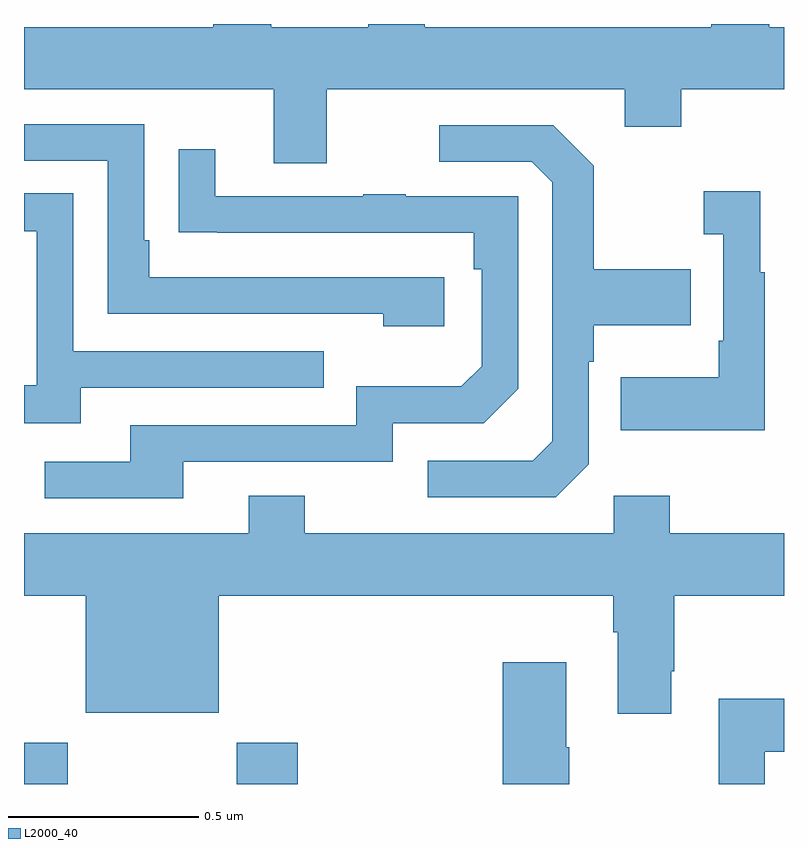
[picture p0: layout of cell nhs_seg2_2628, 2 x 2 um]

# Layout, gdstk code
import gdstk
lib = gdstk.Library(unit=1e-6, precision=1e-09)
def R(c, l, rs):  # rectangles x0, y0, x1, y1
    for r in rs: c.add(gdstk.rectangle(r[:2], r[2:], *l))
def P(c, l, *ps):  # polygons
    for p in ps: c.add(gdstk.Polygon(p, *l))
L2000_40 = (2000, 40)

nhs_seg2_2628 = lib.new_cell('nhs_seg2_2628')
R(nhs_seg2_2628, L2000_40, [(143,653.8,143.115,653.908), (143.56,653.8,143.72,653.908)])
P(nhs_seg2_2628, L2000_40, [(143.797,655.628),(144.581,655.628),(144.581,655.529),(144.729,655.529),(144.729,655.628),(145,655.628),(145,655.792),(144.961,655.792),(144.961,655.8),(144.809,655.8),(144.809,655.792),(144.054,655.792),(144.054,655.8),(143.906,655.8),(143.906,655.792),(143.65,655.792),(143.65,655.8),(143.498,655.8),(143.498,655.792),(143,655.792),(143,655.628),(143.657,655.628),(143.657,655.434),(143.797,655.434)],
  [(144.106,655.134),(143.329,655.134),(143.329,655.231),(143.316,655.231),(143.316,655.536),(143,655.536),(143,655.44),(143.22,655.44),(143.22,655.038),(143.945,655.038),(143.945,655.004),(144.106,655.004)],
  [(144.486,654.642),(144.486,654.911),(144.499,654.911),(144.499,655.007),(144.755,655.007),(144.755,655.155),(144.499,655.155),(144.499,655.427),(144.393,655.533),(144.093,655.533),(144.093,655.437),(144.336,655.437),(144.39,655.383),(144.39,654.702),(144.339,654.651),(144.063,654.651),(144.063,654.555),(144.399,654.555)],
  [(143.419,654.648),(143.97,654.648),(143.97,654.75),(144.21,654.75),(144.3,654.84),(144.3,655.347),(144.005,655.347),(144.005,655.352),(143.893,655.352),(143.893,655.347),(143.503,655.347),(143.503,655.471),(143.407,655.471),(143.407,655.252),(143.509,655.252),(143.509,655.251),(144.184,655.251),(144.184,655.154),(144.204,655.154),(144.204,654.9),(144.151,654.847),(143.874,654.847),(143.874,654.744),(143.279,654.744),(143.279,654.648),(143.055,654.648),(143.055,654.552),(143.419,654.552)],
  [(144.949,655.147),(144.937,655.147),(144.937,655.36),(144.789,655.36),(144.789,655.247),(144.84,655.247),(144.84,654.967),(144.828,654.967),(144.828,654.871),(144.571,654.871),(144.571,654.731),(144.949,654.731)],
  [(143.149,654.843),(143.789,654.843),(143.789,654.939),(143.13,654.939),(143.13,655.355),(143,655.355),(143,655.254),(143.034,655.254),(143.034,654.849),(143,654.849),(143,654.749),(143.149,654.749)],
  [(144.703,654.097),(144.711,654.097),(144.711,654.296),(145,654.296),(145,654.46),(144.699,654.46),(144.699,654.559),(144.552,654.559),(144.552,654.46),(143.739,654.46),(143.739,654.559),(143.591,654.559),(143.591,654.46),(143,654.46),(143,654.296),(143.162,654.296),(143.162,653.987),(143.512,653.987),(143.512,654.296),(144.551,654.296),(144.551,654.2),(144.563,654.2),(144.563,653.985),(144.703,653.985)],
  [(144.435,653.897),(144.427,653.897),(144.427,654.121),(144.26,654.121),(144.26,653.8),(144.435,653.8)],
  [(144.949,653.885),(145,653.885),(145,654.025),(144.828,654.025),(144.828,653.8),(144.949,653.8)])

lib.write_gds('nhs_seg2_2628.gds')
